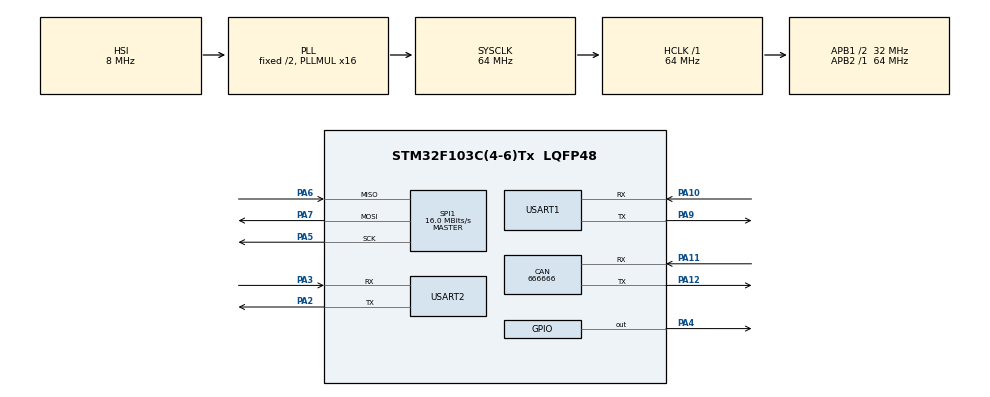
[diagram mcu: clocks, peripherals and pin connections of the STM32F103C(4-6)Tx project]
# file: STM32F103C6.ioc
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CAN.CalculateBaudRate=666666
CAN.CalculateTimeBit=1500
CAN.CalculateTimeQuantum=500.0
Dma.Request0=USART1_RX
Dma.USART1_RX.0.Direction=DMA_PERIPH_TO_MEMORY
Dma.USART1_RX.0.Instance=DMA1_Channel5
Dma.USART1_RX.0.MemDataAlignment=DMA_MDATAALIGN_BYTE
Dma.USART1_RX.0.MemInc=DMA_MINC_ENABLE
Dma.USART1_RX.0.Mode=DMA_NORMAL
Dma.USART1_RX.0.PeriphDataAlignment=DMA_PDATAALIGN_BYTE
Dma.USART1_RX.0.PeriphInc=DMA_PINC_DISABLE
Dma.USART1_RX.0.Priority=DMA_PRIORITY_LOW
FREERTOS.Tasks01=defaultTask,0,128,StartDefaultTask,Default,NULL,Dynamic,NULL,NULL
Mcu.Family=STM32F1
Mcu.Name=STM32F103C(4-6)Tx
Mcu.Package=LQFP48
NVIC.DMA1_Channel5_IRQn=true\:5\:0\:false\:false\:true\:true\:false\:true\:true
NVIC.PriorityGroup=NVIC_PRIORITYGROUP_4
NVIC.USART1_IRQn=true\:5\:0\:false\:false\:true\:true\:true\:true\:true
PA10.Mode=Asynchronous
PA10.Signal=USART1_RX
PA11.Mode=CAN_Activate
PA11.Signal=CAN_RX
PA12.Mode=CAN_Activate
PA12.Signal=CAN_TX
PA2.Mode=Asynchronous
PA2.Signal=USART2_TX
PA3.Mode=Asynchronous
PA3.Signal=USART2_RX
PA4.Signal=GPIO_Output
PA5.Mode=Full_Duplex_Master
PA5.Signal=SPI1_SCK
PA6.Mode=Full_Duplex_Master
PA6.Signal=SPI1_MISO
PA7.Mode=Full_Duplex_Master
PA7.Signal=SPI1_MOSI
PA9.Mode=Asynchronous
PA9.Signal=USART1_TX
ProjectManager.HeapSize=0x200
ProjectManager.StackSize=0x400
ProjectManager.TargetToolchain=MDK-ARM V5
RCC.AHBFreq_Value=64000000
RCC.APB1CLKDivider=RCC_HCLK_DIV2
RCC.APB1Freq_Value=32000000
RCC.APB1TimFreq_Value=64000000
RCC.APB2Freq_Value=64000000
RCC.APB2TimFreq_Value=64000000
RCC.HCLKFreq_Value=64000000
RCC.PLLMUL=RCC_PLL_MUL16
RCC.SYSCLKFreq_VALUE=64000000
RCC.SYSCLKSource=RCC_SYSCLKSOURCE_PLLCLK
RCC.USBFreq_Value=64000000
SPI1.BaudRatePrescaler=SPI_BAUDRATEPRESCALER_4
SPI1.CalculateBaudRate=16.0 MBits/s
SPI1.Direction=SPI_DIRECTION_2LINES
SPI1.Mode=SPI_MODE_MASTER
SPI1.VirtualType=VM_MASTER
USART1.VirtualMode=VM_ASYNC
USART2.VirtualMode=VM_ASYNC
VP_FREERTOS_VS_CMSIS_V1.Mode=CMSIS_V1
VP_SYS_VS_ND.Mode=No_Debug
VP_TIM3_VS_ClockSourceINT.Mode=Internal
board=custom

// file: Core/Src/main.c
/* USER CODE BEGIN Header */
/**
  ******************************************************************************
  * @file           : main.c
  * @brief          : Main program body
  ******************************************************************************
  * @attention
  *
  * Copyright (c) 2023 STMicroelectronics.
  * All rights reserved.
  *
  * This software is licensed under terms that can be found in the LICENSE file
  * in the root directory of this software component.
  * If no LICENSE file comes with this software, it is provided AS-IS.
  *
  ******************************************************************************
  */
/* USER CODE END Header */
#include "main.h"
#include "cmsis_os.h"
#include "can.h"
#include "dma.h"
#include "spi.h"
#include "tim.h"
#include "usart.h"
#include "gpio.h"

/* USER CODE BEGIN Includes */
#include <stdio.h>
#include "string.h"
#include "bsp_debug.h"

/* USER CODE END Includes */

void SystemClock_Config(void);
void MX_FREERTOS_Init(void);

int main(void)
{

  /* MCU Configuration--------------------------------------------------------*/

  /* Reset of all peripherals, Initializes the Flash interface and the Systick. */
  HAL_Init();

  /* Configure the system clock */
  SystemClock_Config();

  /* Initialize all configured peripherals */
  MX_GPIO_Init();
  MX_DMA_Init();
  MX_CAN_Init();
  MX_USART1_UART_Init();
  MX_USART2_UART_Init();
  MX_TIM3_Init();
  MX_SPI1_Init();

  /* Call init function for freertos objects (in freertos.c) */
  MX_FREERTOS_Init();

  /* Start scheduler */
  osKernelStart();

  /* We should never get here as control is now taken by the scheduler */
  /* Infinite loop */
  while (1)
  {

  }
}

void SystemClock_Config(void)
{
  RCC_OscInitTypeDef RCC_OscInitStruct = {0};
  RCC_ClkInitTypeDef RCC_ClkInitStruct = {0};

  /** Initializes the RCC Oscillators according to the specified parameters
  * in the RCC_OscInitTypeDef structure.
  */
  RCC_OscInitStruct.OscillatorType = RCC_OSCILLATORTYPE_HSI;
  RCC_OscInitStruct.HSIState = RCC_HSI_ON;
  RCC_OscInitStruct.HSICalibrationValue = RCC_HSICALIBRATION_DEFAULT;
  RCC_OscInitStruct.PLL.PLLState = RCC_PLL_ON;
  RCC_OscInitStruct.PLL.PLLSource = RCC_PLLSOURCE_HSI_DIV2;
  RCC_OscInitStruct.PLL.PLLMUL = RCC_PLL_MUL16;
  if (HAL_RCC_OscConfig(&RCC_OscInitStruct) != HAL_OK)
  {
    Error_Handler();
  }

  /** Initializes the CPU, AHB and APB buses clocks
  */
  RCC_ClkInitStruct.ClockType = RCC_CLOCKTYPE_HCLK|RCC_CLOCKTYPE_SYSCLK
                              |RCC_CLOCKTYPE_PCLK1|RCC_CLOCKTYPE_PCLK2;
  RCC_ClkInitStruct.SYSCLKSource = RCC_SYSCLKSOURCE_PLLCLK;
  RCC_ClkInitStruct.AHBCLKDivider = RCC_SYSCLK_DIV1;
  RCC_ClkInitStruct.APB1CLKDivider = RCC_HCLK_DIV2;
  RCC_ClkInitStruct.APB2CLKDivider = RCC_HCLK_DIV1;

  if (HAL_RCC_ClockConfig(&RCC_ClkInitStruct, FLASH_LATENCY_2) != HAL_OK)
  {
    Error_Handler();
  }
}

/* USER CODE BEGIN 4 */
//比较两个缓冲区数据是否相等
uint8_t Buffercmp(uint8_t* pBuffer1, uint8_t* pBuffer2, uint16_t BufferLength) {
  while(BufferLength--) {
    if(*pBuffer1 != *pBuffer2)
      return 0;
    pBuffer1++;
    pBuffer2++;
  }
  return 1;
}
/* USER CODE END 4 */

void Error_Handler(void)
{
  __disable_irq();
  while (1)
  {
  }
}

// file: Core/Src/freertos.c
/* USER CODE BEGIN Header */
/**
  ******************************************************************************
  * File Name          : freertos.c
  * Description        : Code for freertos applications
  ******************************************************************************
  * @attention
  *
  * Copyright (c) 2023 STMicroelectronics.
  * All rights reserved.
  *
  * This software is licensed under terms that can be found in the LICENSE file
  * in the root directory of this software component.
  * If no LICENSE file comes with this software, it is provided AS-IS.
  *
  ******************************************************************************
  */
/* USER CODE END Header */

#include "FreeRTOS.h"
#include "task.h"
#include "main.h"
#include "cmsis_os.h"

/* USER CODE BEGIN Includes */
#include "bsp_debug.h"
/* USER CODE END Includes */

/* USER CODE BEGIN Variables */
QueueHandle_t Debug_RxData_QueueHandle;//Debug回传数据消息队列
QueueHandle_t WH_LTE_Resend_QueueHandle;//4G模块自动重发消息队列

osThreadId Debug_ControlTaskHandle;
osThreadId WH_LTE_ResendTaskHandle;//4G模块自动重发任务
/* USER CODE END Variables */
osThreadId defaultTaskHandle;

/* USER CODE BEGIN FunctionPrototypes */
void Debug_ControlTaskFun( void const * argument );
void WH_LTE_ResendTaskFun( void const * argument );
/* USER CODE END FunctionPrototypes */

void StartDefaultTask(void const * argument);

void MX_FREERTOS_Init(void); /* (MISRA C 2004 rule 8.1) */

/* GetIdleTaskMemory prototype (linked to static allocation support) */
void vApplicationGetIdleTaskMemory( StaticTask_t **ppxIdleTaskTCBBuffer, StackType_t **ppxIdleTaskStackBuffer, uint32_t *pulIdleTaskStackSize );

/* USER CODE BEGIN GET_IDLE_TASK_MEMORY */
static StaticTask_t xIdleTaskTCBBuffer;
static StackType_t xIdleStack[configMINIMAL_STACK_SIZE];

void vApplicationGetIdleTaskMemory( StaticTask_t **ppxIdleTaskTCBBuffer, StackType_t **ppxIdleTaskStackBuffer, uint32_t *pulIdleTaskStackSize )
{
  *ppxIdleTaskTCBBuffer = &xIdleTaskTCBBuffer;
  *ppxIdleTaskStackBuffer = &xIdleStack[0];
  *pulIdleTaskStackSize = configMINIMAL_STACK_SIZE;
  /* place for user code */
}
/* USER CODE END GET_IDLE_TASK_MEMORY */

void MX_FREERTOS_Init(void) {

  /* USER CODE BEGIN RTOS_QUEUES */
  /* add queues, ... */
	Debug_RxData_QueueHandle = xQueueCreate(2, sizeof(DEBUG_DATA));
	WH_LTE_Resend_QueueHandle = xQueueCreate( 5, sizeof(DEBUG_DATA) );//4G模块重发数据消息队列
  /* USER CODE END RTOS_QUEUES */

  /* Create the thread(s) */
  /* definition and creation of defaultTask */
  osThreadDef(defaultTask, StartDefaultTask, osPriorityNormal, 0, 128);
  defaultTaskHandle = osThreadCreate(osThread(defaultTask), NULL);

  /* USER CODE BEGIN RTOS_THREADS */
  /* add threads, ... */

	//Debug串口调试数据处理Task
	osThreadDef(Debug_ControlTask, Debug_ControlTaskFun, osPriorityIdle, 0, 128);
  Debug_ControlTaskHandle = osThreadCreate(osThread(Debug_ControlTask), NULL);
	//4G模块自动重发
	osThreadDef(WH_LTE_ResendTask, WH_LTE_ResendTaskFun, osPriorityIdle, 0, 128);
  WH_LTE_ResendTaskHandle = osThreadCreate(osThread(WH_LTE_ResendTask), NULL);

  /* USER CODE END RTOS_THREADS */

}

void StartDefaultTask(void const * argument)
{
  /* USER CODE BEGIN StartDefaultTask */
  /* Infinite loop */
	printf("初始化...");

	//Debug串口调试
	Debug_DMA_rBuff = pvPortMalloc( Debug_rBuff_Size );
	HAL_UART_Receive_DMA(&huart1,Debug_DMA_rBuff,Debug_rBuff_Size);//启动DMA接收
	__HAL_UART_ENABLE_IT(&huart1,UART_IT_IDLE);//使能空闲中断

	printf("初始化完成,内存剩余%d\r\n",xPortGetFreeHeapSize());
  for(;;)
  {
    vTaskDelay(2000);
  }
  /* USER CODE END StartDefaultTask */
}

/* USER CODE BEGIN Application */
/**
	*	Debug串口接收处理任务
	*/
void Debug_ControlTaskFun ( void const * argument ) {

	BaseType_t result;
	BaseType_t *rxData = pvPortMalloc(Debug_rBuff_Size);
  for( ;; ) {
		result = xQueueReceive( Debug_RxData_QueueHandle, rxData, portMAX_DELAY );
		if ( result == pdTRUE ) {
			Debug_ParseRxData( rxData );
		}
	}
}

//4G模块自动重发
void WH_LTE_ResendTaskFun ( void const * argument ) {

	BaseType_t result;
	BaseType_t *rxData = pvPortMalloc(sizeof(DEBUG_DATA));
	DEBUG_DATA *typeData;
	uint32_t notifyValue;
  for( ;; ) {

		result = xQueueReceive( WH_LTE_Resend_QueueHandle, rxData, portMAX_DELAY );
		if ( result == pdTRUE ){
			typeData = (DEBUG_DATA *)rxData;

			for ( ;; ) {
				//用等待通知的方式替代延时重发
				//若超时会返回pdFALSE,为超时收到数据则返回pdTRUE
				HAL_UART_Transmit(&huart1, (uint8_t *) typeData, typeData->size, portMAX_DELAY);
				result = xTaskNotifyWait( pdFALSE, portMAX_DELAY, &notifyValue, 1000 );
				if ( result == pdTRUE ) {
					if ( notifyValue == 1 ) {
						//收到ok
						HAL_UART_Transmit(&huart1, (uint8_t *) &"收到ok\r\n", strlen("收到ok\r\n"), portMAX_DELAY);
						break;
					} else if ( notifyValue == 2 ) {
						//放弃数据
						HAL_UART_Transmit(&huart1, (uint8_t *) &"丢弃\r\n", strlen("丢弃\r\n"), portMAX_DELAY);
						break;
					}
				}
				//超时,未收到ok,重发数据
			}

		}

	}
}
/* USER CODE END Application */
